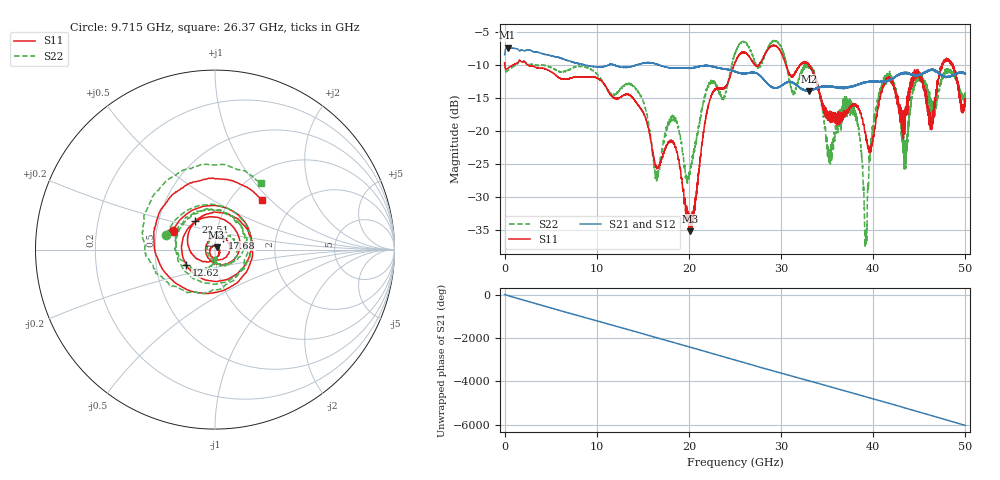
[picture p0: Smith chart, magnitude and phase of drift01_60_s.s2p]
!Created with skrf (http://scikit-rf.org).
# Hz S RI R 50.0
!freq ReS11 ImS11 ReS21 ImS21 ReS12 ImS12 ReS22 ImS22
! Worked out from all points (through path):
!   10001 points, 300 kHz to 50 GHz, reference 50 ohm
!   highest |S21| = -7.32 dB at 325.3 MHz (marker M1); lowest = -13.9 dB at 33.05 GHz (marker M2)
!   group delay of S21, straight-line fit = 335 ps
!   lowest |S11| = -35.2 dB at 20.16 GHz (marker M3), VSWR 1.04, Z = 50.8 + j1.54 ohm
!   |S11| at or under -10 dB: 2.566 GHz to 24.9 GHz (22.33 GHz wide, 163 % of centre); 30.53 GHz to 32.04 GHz (1.51 GHz wide, 4.83 % of centre); 33.08 GHz to 47.44 GHz (14.37 GHz wide, 35.7 % of centre) (the widest 3 of 20)
!   |S22| runs from -37.5 to -6.2 dB; largest |S21 - S12| = 0.0097
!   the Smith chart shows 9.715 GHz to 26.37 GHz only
!   S11 on the Smith chart (normalised r, x): 9.715 GHz: 0.61, +0.14; 12.62 GHz: 0.71, -0.12; 17.68 GHz: 1.08, +0.15; 22.51 GHz: 0.77, +0.25; 26.37 GHz: 1.39, +0.89
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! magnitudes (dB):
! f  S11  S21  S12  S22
! 300 kHz  -9.6  -8.4  -8.5  -9.6
! 325.3 MHz  -10.5  -7.3  -7.3  -10.8
! 8.335 GHz  -11.8  -9.8  -9.8  -10.2
! 9.715 GHz  -11.8  -10.2  -10.2  -10.9
! 12.62 GHz  -14.9  -10.3  -10.3  -13.6
! 16.67 GHz  -25.7  -9.9  -9.9  -26.9
! 17.68 GHz  -22.0  -10.3  -10.3  -19.3
! 20.16 GHz  -35.2  -10.4  -10.4  -25.8
! 22.51 GHz  -14.4  -10.1  -10.2  -12.4
! 25 GHz  -9.6  -11.0  -11.0  -8.2
! 26.37 GHz  -8.4  -11.2  -11.2  -6.9
! 33.05 GHz  -10.0  -13.9  -13.9  -10.0
! 33.34 GHz  -10.7  -13.8  -13.7  -10.5
! 35.27 GHz  -17.8  -13.2  -13.2  -23.1
! 37.99 GHz  -15.8  -13.1  -13.1  -17.4
! 39.18 GHz  -20.5  -12.6  -12.6  -36.5
! 40.11 GHz  -20.1  -12.5  -12.4  -17.9
! 41.67 GHz  -11.7  -12.3  -12.3  -11.8
! 43.45 GHz  -17.7  -11.2  -11.2  -24.2
! 44.85 GHz  -10.9  -11.5  -11.5  -11.8
! 46.27 GHz  -19.7  -10.7  -10.7  -15.6
! 50 GHz  -15.5  -11.3  -11.3  -14.9
